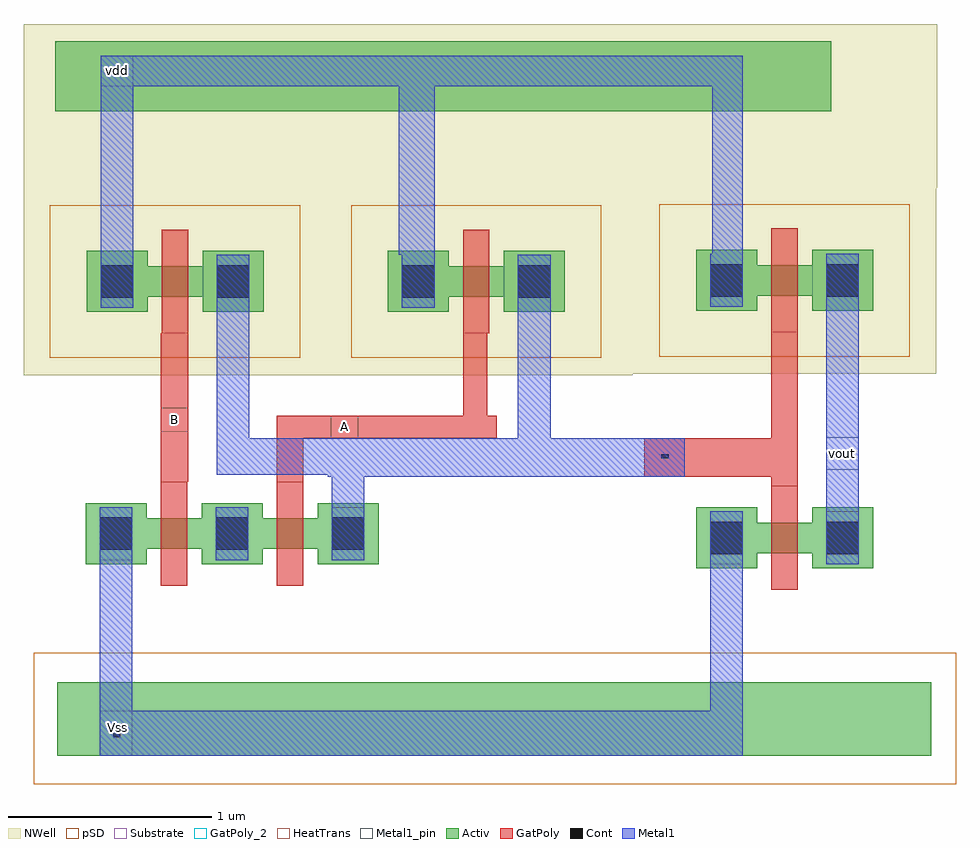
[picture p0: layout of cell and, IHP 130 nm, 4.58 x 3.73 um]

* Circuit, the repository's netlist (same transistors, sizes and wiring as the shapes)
* Extracted by KLayout with SG13G2 LVS runset on : 12/04/2026 02:55

.SUBCKT and
M$1 \$1 \$4 \$2 \$1 sg13_lv_nmos L=0.13u W=0.15u AS=0.1005p AD=0.1005p PS=1.34u
+ PD=1.34u
M$2 \$1 \$7 \$3 \$1 sg13_lv_nmos L=0.13u W=0.15u AS=0.1005p AD=0.0555p PS=1.34u
+ PD=0.74u
M$3 \$3 \$6 \$4 \$1 sg13_lv_nmos L=0.13u W=0.15u AS=0.0555p AD=0.1005p PS=0.74u
+ PD=1.34u
M$4 \$5 \$7 \$4 \$5 sg13_lv_pmos L=0.13u W=0.15u AS=0.1005p AD=0.1005p PS=1.34u
+ PD=1.34u
M$5 \$5 \$6 \$4 \$5 sg13_lv_pmos L=0.13u W=0.15u AS=0.1005p AD=0.1005p PS=1.34u
+ PD=1.34u
M$6 \$5 \$4 \$2 \$5 sg13_lv_pmos L=0.13u W=0.15u AS=0.1005p AD=0.1005p PS=1.34u
+ PD=1.34u
.ENDS and

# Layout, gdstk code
import gdstk
lib = gdstk.Library(unit=1e-6, precision=5e-09)
def R(c, l, rs):  # rectangles x0, y0, x1, y1
    for r in rs: c.add(gdstk.rectangle(r[:2], r[2:], *l))
Activ = (1, 0)
GatPoly = (5, 0)
GatPoly_2 = (5, 2)
Cont = (6, 0)
Metal1 = (8, 0)
Metal1_pin = (8, 2)
pSD = (14, 0)
NWell = (31, 0)
Substrate = (40, 0)
HeatTrans = (51, 0)

nmos = lib.new_cell('nmos')
R(nmos, Activ, [(0,0,0.3,0.3), (0.57,0,0.87,0.3), (0,0.075,0.87,0.225)])
R(nmos, GatPoly, [(0.37,-0.105,0.5,0.405)])
R(nmos, GatPoly_2, [(0.37,-0.105,0.5,0.405)])
R(nmos, Cont, [(0.07,0.07,0.23,0.23), (0.64,0.07,0.8,0.23)])
R(nmos, Metal1, [(0.07,0.02,0.23,0.28), (0.64,0.02,0.8,0.28)])
R(nmos, Metal1_pin, [(0.07,0.02,0.23,0.28), (0.64,0.02,0.8,0.28)])
R(nmos, HeatTrans, [(0.37,-0.105,0.5,0.405)])
nmos.add(gdstk.Label('nmos', (0.435,0.15), layer=63, texttype=0))
nmos.add(gdstk.Label('nmos', (0.435,0.15), layer=51, texttype=0))

pmos = lib.new_cell('pmos')
R(pmos, Activ, [(0,0,0.3,0.3), (0.57,0,0.87,0.3), (0,0.075,0.87,0.225)])
R(pmos, GatPoly, [(0.37,-0.105,0.5,0.405), (0.37,-0.105,0.5,0.405)])
R(pmos, Cont, [(0.07,0.07,0.23,0.23), (0.64,0.07,0.8,0.23)])
R(pmos, Metal1, [(0.07,0.02,0.23,0.28), (0.07,0.02,0.23,0.28), (0.64,0.02,0.8,0.28), (0.64,0.02,0.8,0.28)])
R(pmos, pSD, [(-0.18,-0.225,1.05,0.525)])
R(pmos, NWell, [(-0.31,-0.31,1.18,0.61)])
R(pmos, Substrate, [(0.57,0,0.87,0.3)])
R(pmos, HeatTrans, [(0.37,-0.105,0.5,0.405)])
pmos.add(gdstk.Label('pmos', (0.435,0.15), layer=63, texttype=0))
pmos.add(gdstk.Label('pmos', (0.435,0.15), layer=51, texttype=0))

and_ = lib.new_cell('and')
R(and_, Activ, [(-0.89,-1.175,3.405,-0.815), (-0.9,1.99,2.915,2.335)])
R(and_, GatPoly, [(2.62,0.15,2.75,0.905), (-0.38,0.17,-0.245,0.9), (0.19,0.17,0.32,0.495), (1.995,0.195,2.75,0.385), (0.19,0.385,1.27,0.495), (1.105,0.385,1.225,0.9)])
R(and_, GatPoly_2, [(0.455,0.385,0.59,0.495), (-0.38,0.415,-0.245,0.535)])
R(and_, Cont, [(-0.615,-1.085,-0.58,-1.06), (2.08,0.285,2.115,0.305), (-0.605,2.185,-0.58,2.205)])
R(and_, Metal1, [(-0.68,-1.175,-0.52,0.045), (-0.68,-1.175,2.47,-0.955), (2.32,-1.175,2.48,-0.235), (2.89,0.025,3.05,1.03), (0.46,0.045,0.62,0.385), (0.44,0.195,1.535,0.385), (1.375,0.195,1.535,1.025), (1.375,0.195,2.195,0.385), (-0.105,0.205,0.055,1.025), (-0.105,0.205,0.68,0.385), (-0.675,1.285,-0.515,2.265), (0.79,1.285,0.965,1.435), (2.33,1.29,2.48,2.265), (0.79,1.305,0.965,2.23), (-0.675,2.115,2.455,2.265)])
R(and_, Metal1_pin, [(-0.68,-1.175,-0.52,-0.955), (2.89,0.23,3.05,0.39), (-0.675,2.115,-0.515,2.265)])
R(and_, pSD, [(-1.005,-1.315,3.53,-0.67)])
R(and_, NWell, [(1.915,0.695,1.94,1.62), (-1.055,1.615,3.435,1.91), (-1.055,1.91,-1.01,2.42), (-1.01,1.91,3.435,2.42)])
and_.add(gdstk.Reference(nmos, (-0.75,-0.235)))
and_.add(gdstk.Reference(nmos, (-0.18,-0.235)))
and_.add(gdstk.Reference(pmos, (0.735,1.005)))
and_.add(gdstk.Reference(pmos, (-0.745,1.005)))
and_.add(gdstk.Reference(nmos, (2.25,-0.255)))
and_.add(gdstk.Reference(pmos, (2.25,1.01)))
and_.add(gdstk.Label('vdd', (-0.595,2.19), layer=8, texttype=2))
and_.add(gdstk.Label('vout', (2.97,0.31), layer=8, texttype=2))
and_.add(gdstk.Label('Vss', (-0.595,-1.035), layer=8, texttype=2))
and_.add(gdstk.Label('B', (-0.315,0.475), layer=5, texttype=2))
and_.add(gdstk.Label('A', (0.52,0.44), layer=5, texttype=2))

lib.write_gds('and.gds')
